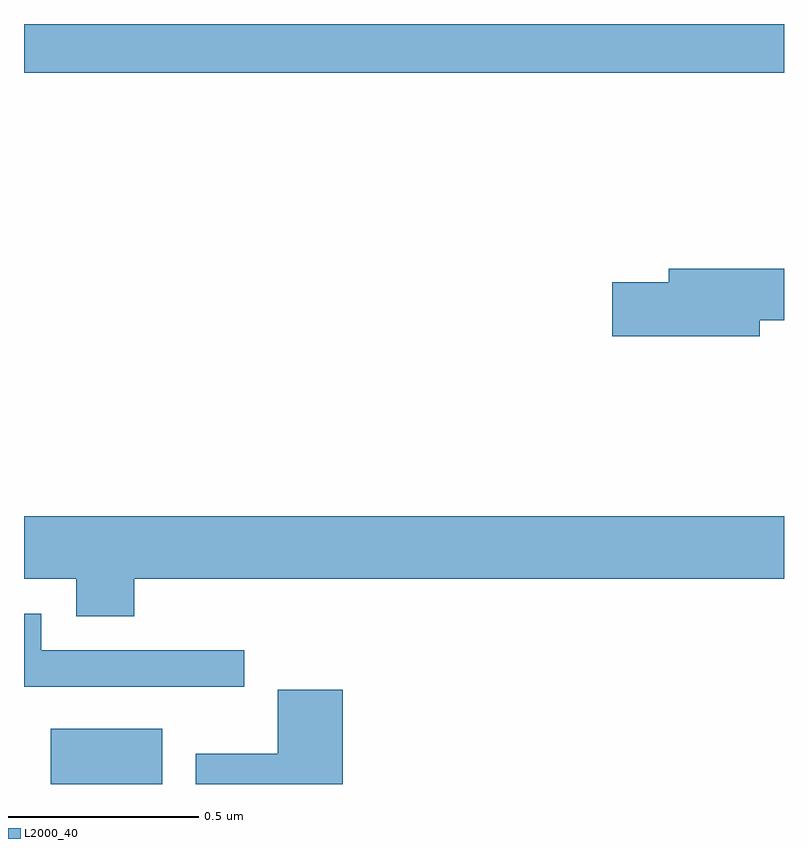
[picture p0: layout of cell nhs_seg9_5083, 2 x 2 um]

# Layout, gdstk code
import gdstk
lib = gdstk.Library(unit=1e-6, precision=1e-09)
def R(c, l, rs):  # rectangles x0, y0, x1, y1
    for r in rs: c.add(gdstk.rectangle(r[:2], r[2:], *l))
def P(c, l, *ps):  # polygons
    for p in ps: c.add(gdstk.Polygon(p, *l))
L2000_40 = (2000, 40)

nhs_seg9_5083 = lib.new_cell('nhs_seg9_5083')
R(nhs_seg9_5083, L2000_40, [(174.071,1242.5,174.364,1242.646), (174,1244.372,176,1244.5)])
P(nhs_seg9_5083, L2000_40, [(175.936,1243.72),(176,1243.72),(176,1243.856),(175.697,1243.856),(175.697,1243.82),(175.548,1243.82),(175.548,1243.678),(175.936,1243.678)],
  [(174.29,1243.04),(176,1243.04),(176,1243.204),(174,1243.204),(174,1243.04),(174.137,1243.04),(174.137,1242.941),(174.29,1242.941)],
  [(174.58,1242.852),(174.045,1242.852),(174.045,1242.948),(174,1242.948),(174,1242.756),(174.58,1242.756)],
  [(174.839,1242.748),(174.668,1242.748),(174.668,1242.58),(174.452,1242.58),(174.452,1242.5),(174.839,1242.5)])

lib.write_gds('nhs_seg9_5083.gds')
